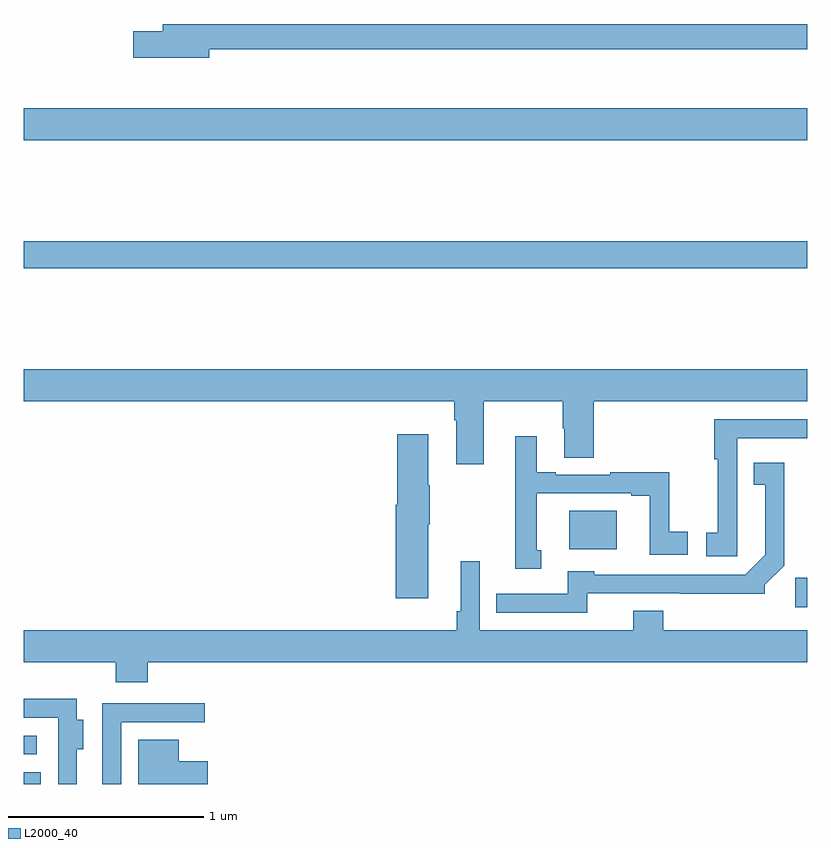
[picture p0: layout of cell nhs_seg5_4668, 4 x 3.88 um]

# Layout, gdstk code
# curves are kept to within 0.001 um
import gdstk
lib = gdstk.Library(unit=1e-6, precision=1e-09)
def R(c, l, rs):  # rectangles x0, y0, x1, y1
    for r in rs: c.add(gdstk.rectangle(r[:2], r[2:], *l))
def P(c, l, *ps):  # polygons
    for p in ps: c.add(gdstk.Polygon(p, *l))
L2000_40 = (2000, 40)

nhs_seg5_4668 = lib.new_cell('nhs_seg5_4668')
R(nhs_seg5_4668, L2000_40, [(385,862.799,385.087,862.858), (385,862.95,385.066,863.046), (388.939,863.7,389,863.851), (387.785,863.996,388.027,864.193), (385,865.432,389,865.568), (385,866.084,389,866.248)])
P(nhs_seg5_4668, L2000_40, [(385.948,866.55),(389,866.55),(389,866.678),(385.709,866.678),(385.709,866.642),(385.56,866.642),(385.56,866.507),(385.948,866.507)],
  [(387.349,864.752),(387.751,864.752),(387.751,864.614),(387.758,864.614),(387.758,864.463),(387.911,864.463),(387.911,864.752),(389,864.752),(389,864.916),(385,864.916),(385,864.752),(387.197,864.752),(387.197,864.656),(387.209,864.656),(387.209,864.432),(387.349,864.432)],
  [(388.642,864.236),(388.641,864.236),(388.641,864.564),(389,864.564),(389,864.66),(388.525,864.66),(388.525,864.457),(388.543,864.457),(388.543,864.081),(388.485,864.081),(388.485,863.961),(388.642,863.961)],
  [(387.064,864.125),(387.072,864.125),(387.072,864.325),(387.064,864.325),(387.064,864.583),(386.906,864.583),(386.906,864.225),(386.9,864.225),(386.9,863.748),(387.064,863.748)],
  [(387.643,863.991),(387.619,863.991),(387.619,864.282),(388.1,864.282),(388.1,864.27),(388.196,864.27),(388.196,863.97),(388.39,863.97),(388.39,864.086),(388.296,864.086),(388.296,864.391),(387.994,864.391),(387.994,864.378),(387.715,864.378),(387.715,864.391),(387.619,864.391),(387.619,864.574),(387.509,864.574),(387.509,864.329),(387.51,864.329),(387.51,863.897),(387.643,863.897)],
  [(387.876,863.772),(388.782,863.771),(388.782,863.815),(388.881,863.914),(388.881,864.439),(388.726,864.439),(388.726,864.326),(388.784,864.326),(388.784,863.969),(388.683,863.868),(387.912,863.868),(387.912,863.884),(387.776,863.884),(387.776,863.769),(387.412,863.769),(387.412,863.673),(387.876,863.673)],
  [(385.634,863.42),(389,863.42),(389,863.584),(388.265,863.584),(388.265,863.683),(388.112,863.683),(388.112,863.584),(387.327,863.584),(387.327,863.935),(387.23,863.935),(387.23,863.68),(387.211,863.68),(387.211,863.584),(385,863.584),(385,863.42),(385.469,863.42),(385.469,863.318),(385.634,863.318)],
  [(385.272,862.976),(385.303,862.976),(385.303,863.128),(385.272,863.128),(385.272,863.234),(385,863.234),(385,863.136),(385.176,863.136),(385.176,862.799),(385.272,862.799)],
  [(385.497,863.115),(385.924,863.115),(385.924,863.211),(385.401,863.211),(385.401,862.799),(385.497,862.799)],
  [(385.939,862.915),(385.792,862.915),(385.792,863.026),(385.586,863.026),(385.586,862.799),(385.939,862.799)])

lib.write_gds('nhs_seg5_4668.gds')
